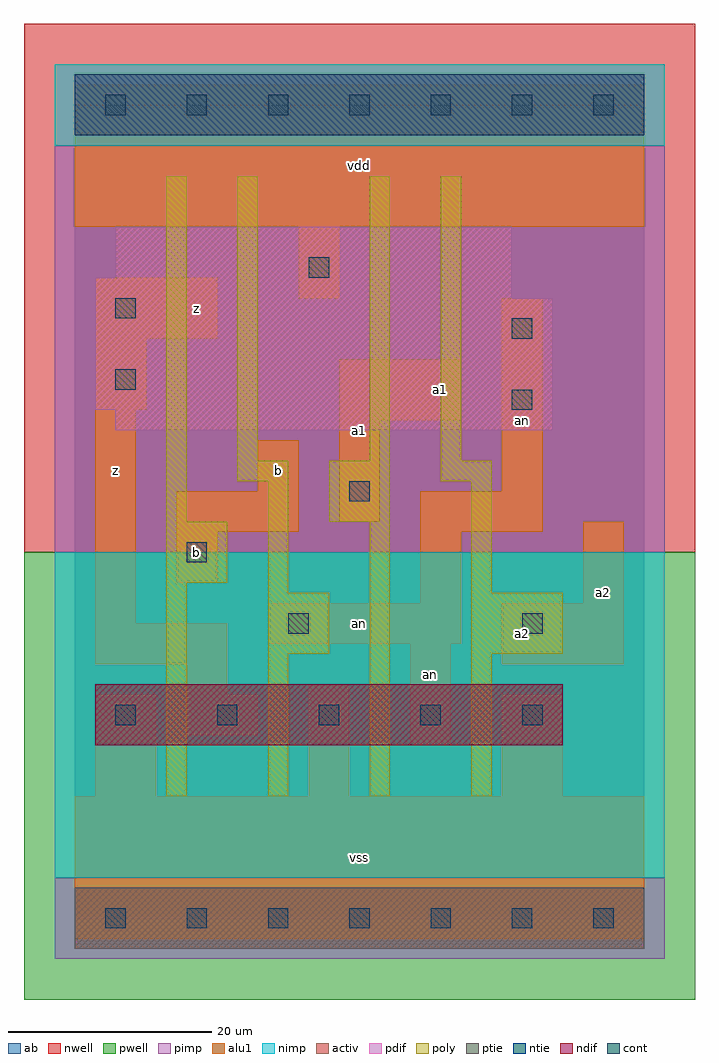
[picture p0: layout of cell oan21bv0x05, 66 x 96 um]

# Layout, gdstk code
import gdstk
lib = gdstk.Library(unit=1e-6, precision=1e-09)
def R(c, l, rs):  # rectangles x0, y0, x1, y1
    for r in rs: c.add(gdstk.rectangle(r[:2], r[2:], *l))
def A(c, l, x, y, w, h, nx, ny, dx, dy):  # array of equal rectangles
    R(c, l, [(x+i*dx, y+j*dy, x+i*dx+w, y+j*dy+h) for i in range(nx) for j in range(ny)])
ndif = (3, 0)
pdif = (4, 0)
ntie = (5, 0)
ptie = (6, 0)
cont = (25, 0)
pwell = (41, 0)
nwell = (42, 0)
activ = (43, 0)
pimp = (44, 0)
nimp = (45, 0)
poly = (46, 0)
alu1 = (49, 0)
ab = (63, 0)

oan21bv0x05 = lib.new_cell('oan21bv0x05')
R(oan21bv0x05, ndif, [(2,17,48,23)])
R(oan21bv0x05, pdif, [(4,48,47,50), (2,50,47,61), (2,61,43,63), (4,63,43,68)])
R(oan21bv0x05, ntie, [(0,77,56,83)])
R(oan21bv0x05, ptie, [(0,-3,56,3)])
A(oan21bv0x05, cont, 3, -1, 2, 2, 7, 2, 8, 80)
A(oan21bv0x05, cont, 4, 19, 2, 2, 5, 1, 10, 0)
R(oan21bv0x05, cont, [(21,28,23,30), (44,28,46,30), (11,35,13,37), (27,41,29,43), (43,50,45,52), (4,52,6,54), (43,57,45,59), (4,59,6,61), (23,63,25,65)])
R(oan21bv0x05, pwell, [(-5,-8,61,36)])
R(oan21bv0x05, nwell, [(-5,36,61,88)])
R(oan21bv0x05, activ, [(0,-3,56,3), (2,17,48,23), (4,48,47,50), (2,50,47,61), (2,61,43,63), (4,63,43,68), (0,77,56,83)])
R(oan21bv0x05, pimp, [(-2,-4,58,4), (-2,36,58,76)])
R(oan21bv0x05, nimp, [(-2,4,58,36), (-2,76,58,84)])
R(oan21bv0x05, poly, [(9,12,11,33), (19,12,21,26), (29,12,31,39), (39,12,41,26), (19,26,25,32), (39,26,48,32), (19,32,21,43), (39,32,41,43), (9,33,15,39), (9,39,11,73), (25,39,31,45), (16,43,21,45), (36,43,41,45), (16,45,18,73), (29,45,31,73), (36,45,38,73)])
R(oan21bv0x05, alu1, [(0,-2,56,12), (2,12,8,22), (23,12,27,23), (42,12,48,22), (33,17,37,27), (11,18,18,22), (11,22,15,25), (2,25,15,29), (42,25,54,31), (19,27,38,31), (2,29,6,50), (34,31,38,38), (50,31,54,39), (10,33,14,38), (10,38,22,42), (34,38,46,42), (26,39,30,49), (18,42,22,47), (42,42,46,61), (26,49,38,55), (2,50,7,57), (2,57,14,63), (22,61,26,68), (0,68,56,82)])
R(oan21bv0x05, ab, [(0,0,56,80)])
oan21bv0x05.add(gdstk.Label('an', (35,24), layer=49, texttype=0))
oan21bv0x05.add(gdstk.Label('an', (28,29), layer=49, texttype=0))
oan21bv0x05.add(gdstk.Label('an', (44,49), layer=49, texttype=0))
oan21bv0x05.add(gdstk.Label('z', (4,44), layer=49, texttype=0))
oan21bv0x05.add(gdstk.Label('b', (12,36), layer=49, texttype=0))
oan21bv0x05.add(gdstk.Label('b', (20,44), layer=49, texttype=0))
oan21bv0x05.add(gdstk.Label('z', (12,60), layer=49, texttype=0))
oan21bv0x05.add(gdstk.Label('vss', (28,6), layer=49, texttype=0))
oan21bv0x05.add(gdstk.Label('a1', (28,48), layer=49, texttype=0))
oan21bv0x05.add(gdstk.Label('a1', (36,52), layer=49, texttype=0))
oan21bv0x05.add(gdstk.Label('vdd', (28,74), layer=49, texttype=0))
oan21bv0x05.add(gdstk.Label('a2', (44,28), layer=49, texttype=0))
oan21bv0x05.add(gdstk.Label('a2', (52,32), layer=49, texttype=0))

lib.write_gds('oan21bv0x05.gds')
